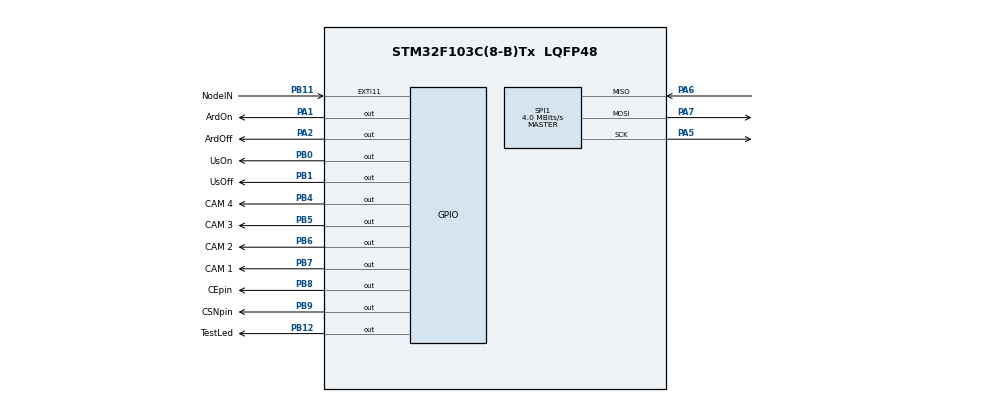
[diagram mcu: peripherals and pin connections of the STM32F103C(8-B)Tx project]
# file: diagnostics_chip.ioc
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Mcu.Family=STM32F1
PC15-OSC32_OUT.Mode=LSE-External-Oscillator
PA6.Mode=Full_Duplex_Master
PA7.Mode=Full_Duplex_Master
PD1-OSC_OUT.Mode=HSE-External-Oscillator
PB9.GPIO_Label=CSNpin
SPI1.VirtualType=VM_MASTER
PB11.GPIO_Label=NodeIN
PB0.GPIO_Label=UsOn
PB6.GPIO_Label=CAM 2
PD0-OSC_IN.Signal=RCC_OSC_IN
PC14-OSC32_IN.Signal=RCC_OSC32_IN
PB11.Signal=GPXTI11
ProjectManager.StackSize=0x400
PD1-OSC_OUT.Signal=RCC_OSC_OUT
PA13.Signal=SYS_JTMS-SWDIO
PB8.GPIO_Label=CEpin
ProjectManager.TargetToolchain=STM32CubeIDE
SPI1.Direction=SPI_DIRECTION_2LINES
PB6.Signal=GPIO_Output
SPI1.CalculateBaudRate=4.0 MBits/s
PC15-OSC32_OUT.Signal=RCC_OSC32_OUT
PA1.Signal=GPIO_Output
PD0-OSC_IN.Mode=HSE-External-Oscillator
NVIC.EXTI15_10_IRQn=true\:0\:0\:false\:false\:true\:true\:true
PA5.Signal=SPI1_SCK
board=custom
PB12.GPIO_Label=TestLed
RCC.APB2Freq_Value=8000000
PB4.GPIO_Label=CAM 4
PC14-OSC32_IN.Mode=LSE-External-Oscillator
SPI1.Mode=SPI_MODE_MASTER
PA14.Mode=Serial_Wire
PB1.GPIO_Label=UsOff
PA1.GPIO_Label=ArdOn
PB7.Signal=GPIO_Output
PA13.Mode=Serial_Wire
Mcu.Name=STM32F103C(8-B)Tx
PA2.Signal=GPIO_Output
PB7.GPIO_Label=CAM 1
Mcu.Package=LQFP48
PB5.Signal=GPIO_Output
PB9.Signal=GPIO_Output
PA6.Signal=SPI1_MISO
PB1.Signal=GPIO_Output
PA2.GPIO_Label=ArdOff
PA14.Signal=SYS_JTCK-SWCLK
ProjectManager.HeapSize=0x200
NVIC.PriorityGroup=NVIC_PRIORITYGROUP_4
PB5.GPIO_Label=CAM 3
PB8.Signal=GPIO_Output
RCC.APB1Freq_Value=8000000
PB0.Signal=GPIO_Output
PB12.Signal=GPIO_Output
PB4.Signal=GPIO_Output
PA7.Signal=SPI1_MOSI
PA5.Mode=Full_Duplex_Master

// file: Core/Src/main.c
/* USER CODE BEGIN Header */
/**
 ******************************************************************************
 * @file           : main.c
 * @brief          : Main program body
 ******************************************************************************
 * @attention
 *
 * <h2><center>&copy; Copyright (c) 2023 STMicroelectronics.
 * All rights reserved.</center></h2>
 *
 * This software component is licensed by ST under BSD 3-Clause license,
 * the "License"; You may not use this file except in compliance with the
 * License. You may obtain a copy of the License at:
 *                        opensource.org/licenses/BSD-3-Clause
 *
 ******************************************************************************
 */
/* USER CODE END Header */
#include "main.h"

/* USER CODE BEGIN Includes */
#include "my_nrf24.h"

/* USER CODE END Includes */

/* USER CODE BEGIN PTD */
#define CSNpin_Pin GPIO_PIN_9
#define CEpin_Pin GPIO_PIN_8

/* USER CODE END PTD */

SPI_HandleTypeDef hspi1;

void SystemClock_Config(void);
static void MX_GPIO_Init(void);
static void MX_SPI1_Init(void);

/* USER CODE BEGIN 0 */
uint64_t TxpipeAddrs = 0x1122334455;
char rec[32] = "";

uint8_t Ard_flag = 1;
uint8_t US_flag = 0;

/* USER CODE END 0 */

int main(void) {

	/* MCU Configuration--------------------------------------------------------*/

	/* Reset of all peripherals, Initializes the Flash interface and the Systick. */
	HAL_Init();

	/* Configure the system clock */
	SystemClock_Config();

	/* Initialize all configured peripherals */
	MX_GPIO_Init();
	MX_SPI1_Init();
	/* USER CODE BEGIN 2 */

	NRF24_begin(GPIOB, CSNpin_Pin, CEpin_Pin, hspi1);
	NRF24_openReadingPipe(0, TxpipeAddrs);
	NRF24_setAutoAck(false);
	NRF24_setPayloadSize(32);
	NRF24_setChannel(76);
	NRF24_startListening();

	HAL_GPIO_WritePin(GPIOB, TestLed_Pin, 1);
	HAL_Delay(1000);
	HAL_GPIO_WritePin(GPIOB, TestLed_Pin, 0);

	HAL_GPIO_WritePin(GPIOB, CAM_1_Pin, 0);
	HAL_GPIO_WritePin(GPIOB, CAM_2_Pin, 0);
	HAL_GPIO_WritePin(GPIOB, CAM_3_Pin, 0);
	HAL_GPIO_WritePin(GPIOB, CAM_4_Pin, 0);

	HAL_GPIO_WritePin(GPIOB, UsOn_Pin, 0);
	HAL_GPIO_WritePin(GPIOB, UsOff_Pin, 0);
	HAL_GPIO_WritePin(GPIOA, ArdOn_Pin, 0);
	HAL_GPIO_WritePin(GPIOA, ArdOff_Pin, 0);

	/* USER CODE END 2 */

	/* Infinite loop */
	/* USER CODE BEGIN WHILE */
	while (1) {

		NRF24_read(rec, 32);
		if (rec[0] == '8') {

			for (uint8_t i = 0; i < 5; i++)
			{
				HAL_GPIO_WritePin(GPIOB, TestLed_Pin, 1);
				HAL_Delay(300);
				HAL_GPIO_WritePin(GPIOB, TestLed_Pin, 0);
				HAL_Delay(300);
			}
			if (rec[1] == '1') {
				HAL_GPIO_WritePin(GPIOB, CAM_1_Pin, 1);
				HAL_Delay(300);
				HAL_GPIO_WritePin(GPIOB, CAM_1_Pin, 0);
			} else if (rec[1] == '2') {
				HAL_GPIO_WritePin(GPIOB, CAM_2_Pin, 1);
				HAL_Delay(300);
				HAL_GPIO_WritePin(GPIOB, CAM_2_Pin, 0);
			} else if (rec[1] == '3') {
				HAL_GPIO_WritePin(GPIOB, CAM_3_Pin, 1);
				HAL_Delay(300);
				HAL_GPIO_WritePin(GPIOB, CAM_3_Pin, 0);
			} else if (rec[1] == '4') {
				HAL_GPIO_WritePin(GPIOB, CAM_4_Pin, 1);
				HAL_Delay(300);
				HAL_GPIO_WritePin(GPIOB, CAM_4_Pin, 0);
			}
			if(Ard_flag == 1)
			{
				/****Pulse to turn off Arduino****/
				HAL_GPIO_WritePin(GPIOA, ArdOff_Pin, 1);
				HAL_Delay(300);
				HAL_GPIO_WritePin(GPIOA, ArdOff_Pin, 0);
				Ard_flag = 0;

				HAL_Delay(2000);

				/****Pulse to turn on us system****/
				HAL_GPIO_WritePin(GPIOB, UsOn_Pin, 1);
				HAL_Delay(300);
				HAL_GPIO_WritePin(GPIOB, UsOn_Pin,0);
				US_flag = 1;
			}

		}

		/* USER CODE END WHILE */

	}
}

void SystemClock_Config(void) {
	RCC_OscInitTypeDef RCC_OscInitStruct = { 0 };
	RCC_ClkInitTypeDef RCC_ClkInitStruct = { 0 };

	/** Initializes the RCC Oscillators according to the specified parameters
	 * in the RCC_OscInitTypeDef structure.
	 */
	RCC_OscInitStruct.OscillatorType = RCC_OSCILLATORTYPE_HSI;
	RCC_OscInitStruct.HSIState = RCC_HSI_ON;
	RCC_OscInitStruct.HSICalibrationValue = RCC_HSICALIBRATION_DEFAULT;
	RCC_OscInitStruct.PLL.PLLState = RCC_PLL_NONE;
	if (HAL_RCC_OscConfig(&RCC_OscInitStruct) != HAL_OK) {
		Error_Handler();
	}
	/** Initializes the CPU, AHB and APB buses clocks
	 */
	RCC_ClkInitStruct.ClockType = RCC_CLOCKTYPE_HCLK | RCC_CLOCKTYPE_SYSCLK
			| RCC_CLOCKTYPE_PCLK1 | RCC_CLOCKTYPE_PCLK2;
	RCC_ClkInitStruct.SYSCLKSource = RCC_SYSCLKSOURCE_HSI;
	RCC_ClkInitStruct.AHBCLKDivider = RCC_SYSCLK_DIV1;
	RCC_ClkInitStruct.APB1CLKDivider = RCC_HCLK_DIV1;
	RCC_ClkInitStruct.APB2CLKDivider = RCC_HCLK_DIV1;

	if (HAL_RCC_ClockConfig(&RCC_ClkInitStruct, FLASH_LATENCY_0) != HAL_OK) {
		Error_Handler();
	}
}

static void MX_SPI1_Init(void) {

	/* SPI1 parameter configuration*/
	hspi1.Instance = SPI1;
	hspi1.Init.Mode = SPI_MODE_MASTER;
	hspi1.Init.Direction = SPI_DIRECTION_2LINES;
	hspi1.Init.DataSize = SPI_DATASIZE_8BIT;
	hspi1.Init.CLKPolarity = SPI_POLARITY_LOW;
	hspi1.Init.CLKPhase = SPI_PHASE_1EDGE;
	hspi1.Init.NSS = SPI_NSS_SOFT;
	hspi1.Init.BaudRatePrescaler = SPI_BAUDRATEPRESCALER_2;
	hspi1.Init.FirstBit = SPI_FIRSTBIT_MSB;
	hspi1.Init.TIMode = SPI_TIMODE_DISABLE;
	hspi1.Init.CRCCalculation = SPI_CRCCALCULATION_DISABLE;
	hspi1.Init.CRCPolynomial = 10;
	if (HAL_SPI_Init(&hspi1) != HAL_OK) {
		Error_Handler();
	}

}

static void MX_GPIO_Init(void) {
	GPIO_InitTypeDef GPIO_InitStruct = { 0 };

	/* GPIO Ports Clock Enable */
	__HAL_RCC_GPIOC_CLK_ENABLE();
	__HAL_RCC_GPIOD_CLK_ENABLE();
	__HAL_RCC_GPIOA_CLK_ENABLE();
	__HAL_RCC_GPIOB_CLK_ENABLE();

	/*Configure GPIO pin Output Level */
	HAL_GPIO_WritePin(GPIOA, ArdOn_Pin | ArdOff_Pin, GPIO_PIN_RESET);

	/*Configure GPIO pin Output Level */
	HAL_GPIO_WritePin(GPIOB,
			UsOn_Pin | UsOff_Pin | TestLed_Pin | CAM_4_Pin | CAM_3_Pin
					| CAM_2_Pin | CAM_1_Pin | CEpin_Pin | CSNpin_Pin,
			GPIO_PIN_RESET);

	/*Configure GPIO pins : ArdOn_Pin ArdOff_Pin */
	GPIO_InitStruct.Pin = ArdOn_Pin | ArdOff_Pin;
	GPIO_InitStruct.Mode = GPIO_MODE_OUTPUT_PP;
	GPIO_InitStruct.Pull = GPIO_NOPULL;
	GPIO_InitStruct.Speed = GPIO_SPEED_FREQ_LOW;
	HAL_GPIO_Init(GPIOA, &GPIO_InitStruct);

	/*Configure GPIO pins : UsOn_Pin UsOff_Pin TestLed_Pin CAM_4_Pin
	 CAM_3_Pin CAM_2_Pin CAM_1_Pin CEpin_Pin
	 CSNpin_Pin */
	GPIO_InitStruct.Pin = UsOn_Pin | UsOff_Pin | TestLed_Pin | CAM_4_Pin
			| CAM_3_Pin | CAM_2_Pin | CAM_1_Pin | CEpin_Pin | CSNpin_Pin;
	GPIO_InitStruct.Mode = GPIO_MODE_OUTPUT_PP;
	GPIO_InitStruct.Pull = GPIO_NOPULL;
	GPIO_InitStruct.Speed = GPIO_SPEED_FREQ_LOW;
	HAL_GPIO_Init(GPIOB, &GPIO_InitStruct);

	/*Configure GPIO pin : NodeIN_Pin */
	GPIO_InitStruct.Pin = NodeIN_Pin;
	GPIO_InitStruct.Mode = GPIO_MODE_IT_RISING;
	GPIO_InitStruct.Pull = GPIO_NOPULL;
	HAL_GPIO_Init(NodeIN_GPIO_Port, &GPIO_InitStruct);

	/* EXTI interrupt init*/
	HAL_NVIC_SetPriority(EXTI15_10_IRQn, 0, 0);
	HAL_NVIC_EnableIRQ(EXTI15_10_IRQn);

}

/* USER CODE BEGIN 4 */
void HAL_GPIO_EXTI_Callback(uint16_t GPIO_Pin) {
	if (Ard_flag == 0) {
		/****Pulse to turn off us system****/
		HAL_GPIO_WritePin(GPIOB, UsOff_Pin, 1);
		HAL_Delay(300);
		HAL_GPIO_WritePin(GPIOB, UsOff_Pin, 0);
		US_flag = 0;
		HAL_Delay(2000);
		/****Pulse to turn off Arduino****/
		HAL_GPIO_WritePin(GPIOA, ArdOn_Pin, 1);
		HAL_Delay(300);
		HAL_GPIO_WritePin(GPIOA, ArdOn_Pin, 0);
		Ard_flag = 1;

	}
}

/* USER CODE END 4 */

void Error_Handler(void) {
	__disable_irq();
	while (1) {
	}
}

/************************ (C) COPYRIGHT STMicroelectronics *****END OF FILE****/
